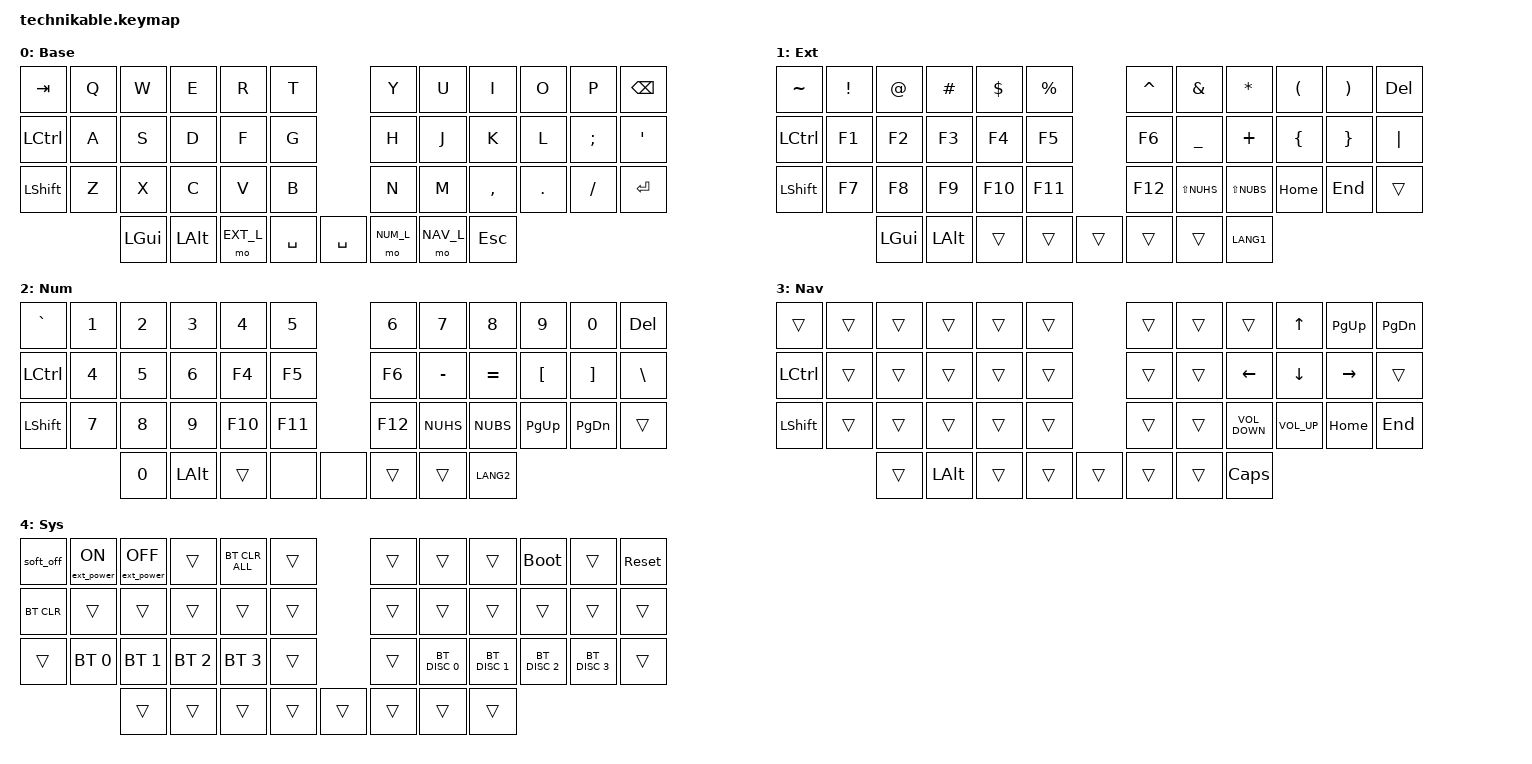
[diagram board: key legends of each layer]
/*
 * Copyright (c) 2022 Pete Johanson
 *
 * SPDX-License-Identifier: MIT
 */

#include <behaviors.dtsi>
#include <dt-bindings/zmk/bt.h>
#include <dt-bindings/zmk/ext_power.h>
#include <dt-bindings/zmk/keys.h>

#define BAS_L 0
#define EXT_L 1
#define NUM_L 2
#define NAV_L 3
#define SYS_L 4

// Using layer taps on thumbs, having quick tap as well helps w/ repeating space/backspace

&lt { quick_tap_ms = <200>; };

/ {
    chosen { zmk,matrix_transform = &ortho_transform; };

    conditional_layers {
        compatible = "zmk,conditional-layers";

        tri_layer {
            if-layers = <1 2>;
            then-layer = <4>;
        };
    };

    keymap {
        compatible = "zmk,keymap";

        base_layer {
            label = "Base";
            bindings = <
&kp TAB           &kp Q  &kp W     &kp E     &kp R      &kp T                 &kp Y      &kp U      &kp I      &kp O    &kp P     &kp BACKSPACE
&kp LEFT_CONTROL  &kp A  &kp S     &kp D     &kp F      &kp G                 &kp H      &kp J      &kp K      &kp L    &kp SEMI  &kp SQT
&kp LSHFT         &kp Z  &kp X     &kp C     &kp V      &kp B                 &kp N      &kp M      &kp COMMA  &kp DOT  &kp FSLH  &kp RET
                         &kp LGUI  &kp LALT  &mo EXT_L  &kp SPACE  &kp SPACE  &mo NUM_L  &mo NAV_L  &kp ESC
            >;
        };

        ext_layer {
            label = "Ext";
            bindings = <
&kp TILDE       &kp EXCLAMATION  &kp AT_SIGN   &kp HASH      &kp DOLLAR  &kp PERCENT          &kp CARET  &kp AMPERSAND   &kp ASTERISK  &kp LEFT_PARENTHESIS  &kp RIGHT_PARENTHESIS  &kp DEL
&kp LCTRL       &kp F1           &kp F2        &kp F3        &kp F4      &kp F5               &kp F6     &kp UNDERSCORE  &kp PLUS      &kp LEFT_BRACE        &kp RIGHT_BRACE        &kp PIPE
&kp LEFT_SHIFT  &kp F7           &kp F8        &kp F9        &kp F10     &kp F11              &kp F12    &kp LS(NUHS)    &kp LS(NUBS)  &kp HOME              &kp END                &trans
                                 &kp LEFT_GUI  &kp LEFT_ALT  &trans      &trans       &trans  &trans     &trans          &kp LANG1
            >;
        };

        num_layer {
            label = "Num";
            bindings = <
&kp GRAVE  &kp NUMBER_1  &kp NUMBER_2  &kp NUMBER_3  &kp NUMBER_4  &kp NUMBER_5         &kp NUMBER_6  &kp NUMBER_7  &kp NUMBER_8  &kp NUMBER_9      &kp NUMBER_0       &kp DELETE
&kp LCTRL  &kp NUMBER_4  &kp NUMBER_5  &kp NUMBER_6  &kp F4        &kp F5               &kp F6        &kp MINUS     &kp EQUAL     &kp LEFT_BRACKET  &kp RIGHT_BRACKET  &kp BSLH
&kp LSHFT  &kp NUMBER_7  &kp NUMBER_8  &kp NUMBER_9  &kp F10       &kp F11              &kp F12       &kp NUHS      &kp NUBS      &kp PAGE_UP       &kp PAGE_DOWN      &trans
                         &kp NUMBER_0  &kp LALT      &trans        &none         &none  &trans        &trans        &kp LANG2
            >;
        };

        nav_layer {
            label = "Nav";
            bindings = <
&trans            &trans  &trans  &trans        &trans  &trans          &trans  &trans  &trans             &kp UP           &kp PAGE_UP  &kp PAGE_DOWN
&kp LEFT_CONTROL  &trans  &trans  &trans        &trans  &trans          &trans  &trans  &kp LEFT           &kp DOWN         &kp RIGHT    &trans
&kp LEFT_SHIFT    &trans  &trans  &trans        &trans  &trans          &trans  &trans  &kp C_VOLUME_DOWN  &kp C_VOLUME_UP  &kp HOME     &kp END
                          &trans  &kp LEFT_ALT  &trans  &trans  &trans  &trans  &trans  &kp CAPS
            >;
        };

        sys_layer {
            label = "Sys";
            bindings = <
&soft_off   &ext_power EP_ON  &ext_power EP_OFF  &trans        &bt BT_CLR_ALL  &trans          &trans  &trans         &trans         &bootloader    &trans         &sys_reset
&bt BT_CLR  &trans            &trans             &trans        &trans          &trans          &trans  &trans         &trans         &trans         &trans         &trans
&trans      &bt BT_SEL 0      &bt BT_SEL 1       &bt BT_SEL 2  &bt BT_SEL 3    &trans          &trans  &bt BT_DISC 0  &bt BT_DISC 1  &bt BT_DISC 2  &bt BT_DISC 3  &trans
                              &trans             &trans        &trans          &trans  &trans  &trans  &trans         &trans
            >;
        };
    };
};
